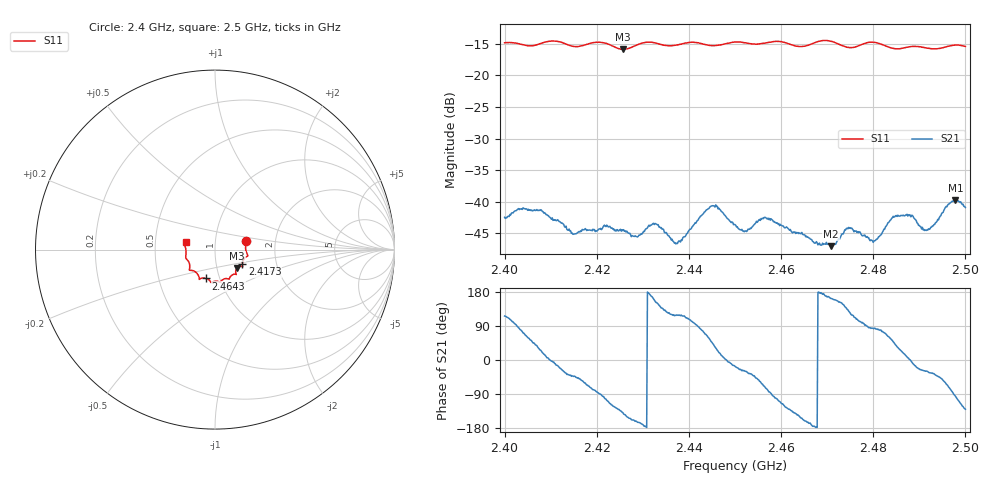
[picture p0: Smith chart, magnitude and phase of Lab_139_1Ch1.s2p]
# Hz S RI R 50
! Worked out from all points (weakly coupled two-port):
!   601 points, 2.4 GHz to 2.5 GHz, reference 50 ohm
!   highest |S21| = -39.69 dB at 2.4978 GHz (marker M1); lowest = -47.0 dB at 2.4708 GHz (marker M2)
!   lowest |S11| = -15.9 dB at 2.4257 GHz (marker M3), VSWR 1.38, Z = 62.5 - j13.1 ohm
!   |S11| at or under -10 dB: start of sweep to end of sweep
!   S12 and S22 are empty: the file has one direction only
!   S11 on the Smith chart (normalised r, x): 2.4 GHz: 1.41, +0.14; 2.4173 GHz: 1.34, -0.23; 2.4643 GHz: 0.86, -0.29; 2.5 GHz: 0.72, +0.06
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2.4e9  0.1733 0.0496  -0.00331 0.00678  0 0  0 0
2.4075e9  0.1757 -0.016  0.00747 0.00427  0 0  0 0
2.416667e9  0.153 -0.0746  0.00347 -0.00469  0 0  0 0
2.417333e9  0.1521 -0.082  0.00296 -0.00525  0 0  0 0
2.425667e9  0.1229 -0.1024  -0.00448 -0.00387  0 0  0 0
2.4285e9  0.1152 -0.1279  -0.00503 -0.00174  0 0  0 0
2.433333e9  0.1126 -0.1369  -0.00558 0.00353  0 0  0 0
2.437667e9  0.0842 -0.1523  -0.00225 0.00427  0 0  0 0
2.445333e9  0.0529 -0.1628  0.007 0.00613  0 0  0 0
2.45e9  0.0291 -0.1808  0.00633 -0.00189  0 0  0 0
2.452167e9  0.0218 -0.1791  0.00511 -0.0029  0 0  0 0
2.456667e9  -0.0113 -0.1796  0.00204 -0.00722  0 0  0 0
2.464333e9  -0.05 -0.1609  -0.005 -0.00253  0 0  0 0
2.466667e9  -0.0761 -0.1596  -0.00497 -0.000647  0 0  0 0
2.470833e9  -0.0873 -0.1638  -0.00425 0.00137  0 0  0 0
2.474667e9  -0.1032 -0.1294  -0.00395 0.00488  0 0  0 0
2.480333e9  -0.1428 -0.1124  0.000494 0.0049  0 0  0 0
2.483333e9  -0.1405 -0.0899  0.00324 0.00606  0 0  0 0
2.488167e9  -0.1608 -0.05  0.0076 -0.000277  0 0  0 0
2.491833e9  -0.1612 -0.0269  0.00514 -0.00305  0 0  0 0
2.497833e9  -0.1703 0.0311  -0.000972 -0.0103  0 0  0 0
2.5e9  -0.1633 0.0419  -0.00579 -0.00692  0 0  0 0
